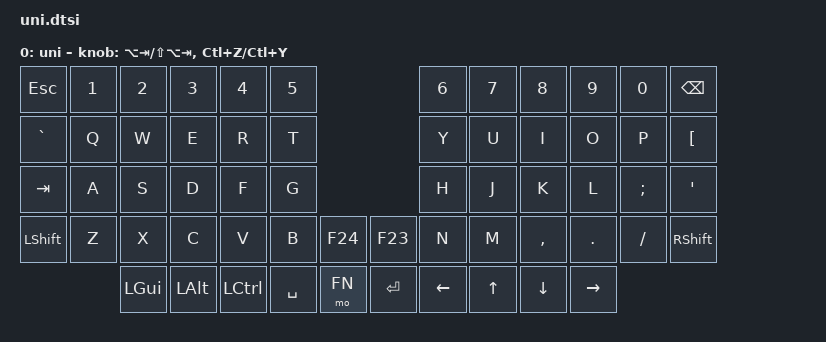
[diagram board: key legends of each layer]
/ {
    keymap {
        compatible = "zmk,keymap";
        
        uni {
            display-name = "uni";
            bindings = <
&kp ESC        &kp N1         &kp N2        &kp N3        &kp N4          &kp N5                                        &kp N6          &kp N7          &kp N8        &kp N9          &kp N0            &kp BSPC
&kp GRAVE      &kp Q          &kp W         &kp E         &kp R           &kp T                                         &kp Y           &kp U           &kp I         &kp O           &kp P             &kp LBKT
&kp TAB        &kp A          &kp S         &kp D         &kp F           &kp G                                         &kp H           &kp J           &kp K         &kp L           &kp SEMI          &kp SQT
&kp LSHFT      &kp Z          &kp X         &kp C         &kp V           &kp B           &kp F24         &kp F23       &kp N           &kp M           &kp COMMA     &kp DOT         &kp FSLH          &kp RSHFT 
                              &kp LGUI      &kp LALT      &kp LCTRL       &kp SPACE       &mo FN          &kp RET       &kp LEFT        &kp UP          &kp DOWN      &kp RIGHT
            >;

            sensor-bindings = <&inc_dec_kp LA(TAB) LS(LA(TAB)) &inc_dec_kp LC(Z) LC(Y)>;
        };
    };
};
